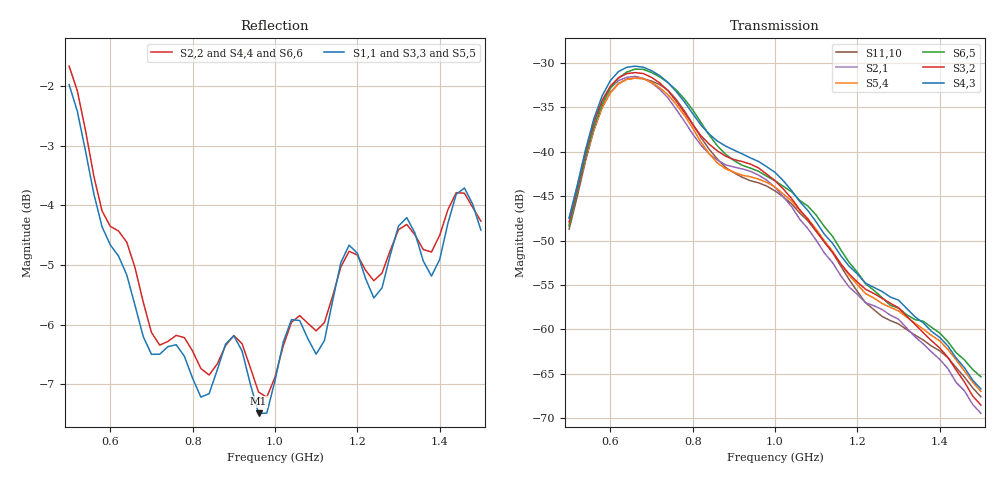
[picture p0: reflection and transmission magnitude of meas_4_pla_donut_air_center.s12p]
! Converted from meas_4_pla_donut_air_center.mat
! MATLAB 5.0 MAT-file, Platform: PCWIN64, Created on: Sat Nov 21 15:06:58 2026
! Ports 1-12 = antennas 1-12; IFBW=1000 Hz, power=0 dBm, doCalibration flag=0
! SW_A serial 12410080206: antennas 1 3 5 7 9 11
! SW_B serial 12410080235: antennas 2 4 6 8 10 12
! WARNING: Sij (i!=j) between two odd or two even ports was NOT MEASURED (NaN in source).
! Those entries are written as 0 0 placeholders. Do not treat them as data.
! Reference impedance 50 ohm is assumed (not stored in source).
# Hz S RI R 50
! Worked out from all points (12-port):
!   51 points, 500 MHz to 1.5 GHz, reference 50 ohm
!   strongest paths, dB at 500 MHz, 740 MHz, 1 GHz, 1.26 GHz, 1.5 GHz:
!     S4,3: -47.5, -32.2, -42.3, -55.7, -66.7
!     S3,2: -47.9, -33.1, -43.3, -56.5, -68.5
!     S6,5: -48.4, -32.2, -43.3, -56.4, -65.3
!     S5,4: -48.2, -33.6, -44.0, -57.1, -67.0
!     S2,1: -47.5, -34.0, -44.0, -57.8, -69.4
!     S11,10: -48.7, -33.1, -44.4, -58.5, -67.6
!   lowest |S11| = -7.5 dB at 960 MHz (marker M1), VSWR 2.46, Z = 24.3 - j20 ohm
!   |S11| at or under -10 dB: nowhere
